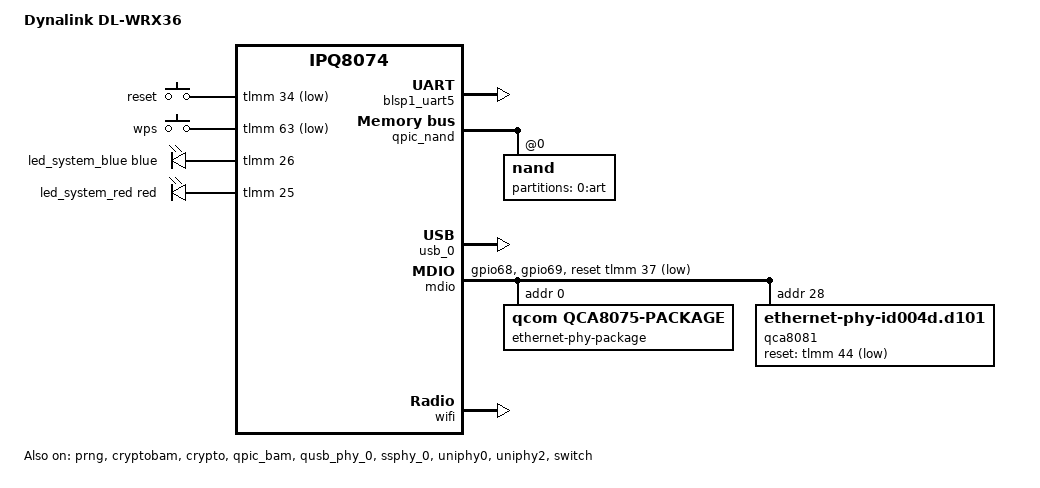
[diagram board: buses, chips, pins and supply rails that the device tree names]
// SPDX-License-Identifier: GPL-2.0-or-later OR MIT
/* Copyright (c) 2022, Robert Marko <robimarko@gmail.com> */

/dts-v1/;

#include "ipq8074.dtsi"
#include "ipq8074-hk-cpu.dtsi"
#include "ipq8074-ess.dtsi"
#include <dt-bindings/gpio/gpio.h>
#include <dt-bindings/input/input.h>
#include <dt-bindings/leds/common.h>

/ {
	model = "Dynalink DL-WRX36";
	compatible = "dynalink,dl-wrx36", "qcom,ipq8074";

	aliases {
		led-boot = &led_system_red;
		led-failsafe = &led_system_red;
		led-running = &led_system_blue;
		led-upgrade = &led_system_red;
		serial0 = &blsp1_uart5;
	};

	chosen {
		stdout-path = "serial0:115200n8";
		bootargs-append = " root=/dev/ubiblock0_1";
	};

	keys {
		compatible = "gpio-keys";

		reset {
			label = "reset";
			gpios = <&tlmm 34 GPIO_ACTIVE_LOW>;
			linux,code = <KEY_RESTART>;
		};

		wps {
			label = "wps";
			gpios = <&tlmm 63 GPIO_ACTIVE_LOW>;
			linux,code = <KEY_WPS_BUTTON>;
		};
	};

	leds {
		compatible = "gpio-leds";

		led_system_blue: system-blue {
			gpios = <&tlmm 26 GPIO_ACTIVE_HIGH>;
			color = <LED_COLOR_ID_BLUE>;
		};

		led_system_red: system-red {
			gpios = <&tlmm 25 GPIO_ACTIVE_HIGH>;
			color = <LED_COLOR_ID_RED>;
		};
	};
};

&tlmm {
	mdio_pins: mdio-pins {
		mdc {
			pins = "gpio68";
			function = "mdc";
			drive-strength = <8>;
			bias-pull-up;
		};

		mdio {
			pins = "gpio69";
			function = "mdio";
			drive-strength = <8>;
			bias-pull-up;
		};
	};
};

&blsp1_uart5 {
	status = "okay";
};

&prng {
	status = "okay";
};

&cryptobam {
	status = "okay";
};

&crypto {
	status = "okay";
};

&qpic_bam {
	status = "okay";
};

&qpic_nand {
	status = "okay";

	/*
	 * Bootloader will find the NAND DT node by the compatible and
	 * then "fixup" it by adding the partitions from the SMEM table
	 * using the legacy bindings thus making it impossible for us
	 * to change the partition table or utilize NVMEM for calibration.
	 * So add a dummy partitions node that bootloader will populate
	 * and set it as disabled so the kernel ignores it instead of
	 * printing warnings due to the broken way bootloader adds the
	 * partitions.
	 */
	partitions {
		status = "disabled";
	};

	nand@0 {
		reg = <0>;
		nand-ecc-strength = <8>;
		nand-ecc-step-size = <512>;
		nand-bus-width = <8>;

		partitions {
			compatible = "qcom,smem-part";

			partition-0-art {
				label = "0:art";
				read-only;

				nvmem-layout {
					compatible = "fixed-layout";
					#address-cells = <1>;
					#size-cells = <1>;

					macaddr_art_0: macaddr@0 {
						reg = <0x0 0x6>;
					};

					macaddr_art_6: macaddr@6 {
						reg = <0x6 0x6>;
					};

					macaddr_art_c: macaddr@c {
						reg = <0xc 0x6>;
					};

					macaddr_art_12: macaddr@12 {
						reg = <0x12 0x6>;
					};

					macaddr_art_18: macaddr@18 {
						reg = <0x18 0x6>;
					};
				};
			};
		};
	};
};

&qusb_phy_0 {
	status = "okay";
};

&ssphy_0 {
	status = "okay";
};

&usb_0 {
	status = "okay";
};

&mdio {
	status = "okay";

	pinctrl-0 = <&mdio_pins>;
	pinctrl-names = "default";
	reset-gpios = <&tlmm 37 GPIO_ACTIVE_LOW>;

	ethernet-phy-package@0 {
		#address-cells = <1>;
		#size-cells = <0>;
		compatible = "qcom,qca8075-package";
		reg = <0>;

		qcom,package-mode = "qsgmii";

		qca8075_0: ethernet-phy@0 {
			compatible = "ethernet-phy-ieee802.3-c22";
			reg = <0>;
		};

		qca8075_1: ethernet-phy@1 {
			compatible = "ethernet-phy-ieee802.3-c22";
			reg = <1>;
		};

		qca8075_2: ethernet-phy@2 {
			compatible = "ethernet-phy-ieee802.3-c22";
			reg = <2>;
		};

		qca8075_3: ethernet-phy@3 {
			compatible = "ethernet-phy-ieee802.3-c22";
			reg = <3>;
		};
	};

	qca8081: ethernet-phy@28 {
		compatible = "ethernet-phy-id004d.d101";
		reg = <28>;
		reset-deassert-us = <10000>;
		reset-gpios = <&tlmm 44 GPIO_ACTIVE_LOW>;

		leds {
			#address-cells = <1>;
			#size-cells = <0>;

			led@0 {
				reg = <0>;
				color = <LED_COLOR_ID_YELLOW>;
				function = LED_FUNCTION_WAN;
				default-state = "keep";
				active-low;
			};

			led@2 {
				reg = <2>;
				color = <LED_COLOR_ID_GREEN>;
				function = LED_FUNCTION_WAN;
				default-state = "keep";
			};
		};
	};
};

&uniphy0 {
	status = "okay";
};

&uniphy2 {
	status = "okay";
};

&switch {
	status = "okay";

	ports {
		#address-cells = <1>;
		#size-cells = <0>;

		port@0 {
			reg = <0>;
			ethernet = <&edma>;
			phy-mode = "internal";

			fixed-link {
				speed = <1000>;
				full-duplex;
			};
		};

		port@1 {
			reg = <1>;
			label = "lan4";
			phy-handle = <&qca8075_0>;
			phy-mode = "qsgmii";
			pcs-handle = <&uniphy0 0>;
			nvmem-cells = <&macaddr_art_18>;
			nvmem-cell-names = "mac-address";
		};

		port@2 {
			reg = <2>;
			label = "lan3";
			phy-handle = <&qca8075_1>;
			phy-mode = "qsgmii";
			pcs-handle = <&uniphy0 1>;
			nvmem-cells = <&macaddr_art_12>;
			nvmem-cell-names = "mac-address";
		};

		port@3 {
			reg = <3>;
			label = "lan2";
			phy-handle = <&qca8075_2>;
			phy-mode = "qsgmii";
			pcs-handle = <&uniphy0 2>;
			nvmem-cells = <&macaddr_art_c>;
			nvmem-cell-names = "mac-address";
		};

		port@4 {
			reg = <4>;
			label = "lan1";
			phy-handle = <&qca8075_3>;
			phy-mode = "qsgmii";
			pcs-handle = <&uniphy0 3>;
			nvmem-cells = <&macaddr_art_6>;
			nvmem-cell-names = "mac-address";
		};

		port@6 {
			reg = <6>;
			label = "wan";
			phy-handle = <&qca8081>;
			phy-mode = "2500base-x";
			pcs-handle = <&uniphy2 0>;
			nvmem-cells = <&macaddr_art_0>;
			nvmem-cell-names = "mac-address";
		};
	};
};

&edma {
	status = "okay";
};

&wifi {
	status = "okay";
	qcom,ath11k-calibration-variant = "Dynalink-DL-WRX36";
};
